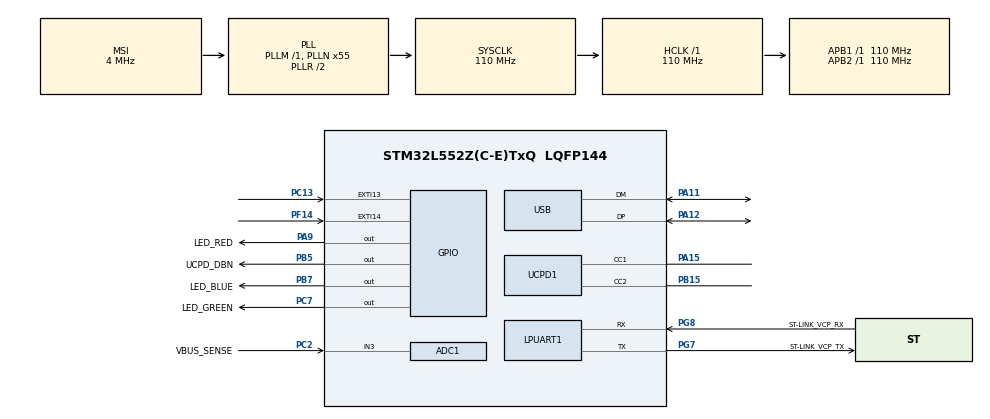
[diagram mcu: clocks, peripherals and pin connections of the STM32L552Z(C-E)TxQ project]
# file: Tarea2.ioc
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ADC1.Channel-0\#ChannelRegularConversion=ADC_CHANNEL_3
ADC1.NbrOfConversionFlag=1
ADC1.OffsetNumber-0\#ChannelRegularConversion=ADC_OFFSET_NONE
ADC1.Rank-0\#ChannelRegularConversion=1
ADC1.SamplingTime-0\#ChannelRegularConversion=ADC_SAMPLETIME_2CYCLES_5
ADC1.master=1
Mcu.Family=STM32L5
Mcu.Name=STM32L552Z(C-E)TxQ
Mcu.Package=LQFP144
Mcu.TrustZone=disable
NVIC.EXTI13_IRQn=true\:0\:0\:false\:false\:true\:true\:true\:true
NVIC.EXTI14_IRQn=true\:0\:0\:false\:false\:true\:true\:true\:true
NVIC.PriorityGroup=NVIC_PRIORITYGROUP_3
PA11.Mode=Device
PA11.Signal=USB_DM
PA12.Mode=Device
PA12.Signal=USB_DP
PA13\ (JTMS/SWDIO).Mode=Trace_Asynchronous_SW
PA13\ (JTMS/SWDIO).Signal=DEBUG_JTMS-SWDIO
PA14\ (JTCK/SWCLK).Mode=Trace_Asynchronous_SW
PA14\ (JTCK/SWCLK).Signal=DEBUG_JTCK-SWCLK
PA15\ (JTDI).Mode=Source_AllSignals
PA15\ (JTDI).Signal=UCPD1_CC1
PA9.GPIO_Label=LED_RED
PA9.Signal=GPIO_Output
PB15.Mode=Source_AllSignals
PB15.Signal=UCPD1_CC2
PB3\ (JTDO/TRACESWO).Mode=Trace_Asynchronous_SW
PB3\ (JTDO/TRACESWO).Signal=DEBUG_JTDO-SWO
PB5.GPIO_Label=UCPD_DBN
PB5.Signal=GPIO_Output
PB7.GPIO_Label=LED_BLUE
PB7.Signal=GPIO_Output
PC13.Signal=GPXTI13
PC14-OSC32_IN\ (PC14).Mode=LSE-External-Oscillator
PC14-OSC32_IN\ (PC14).Signal=RCC_OSC32_IN
PC15-OSC32_OUT\ (PC15).Mode=LSE-External-Oscillator
PC15-OSC32_OUT\ (PC15).Signal=RCC_OSC32_OUT
PC2.GPIO_Label=VBUS_SENSE
PC2.Signal=ADCx_IN3
PC7.GPIO_Label=LED_GREEN
PC7.Signal=GPIO_Output
PF14.Signal=GPXTI14
PG7.GPIO_Label=ST-LINK_VCP_TX
PG7.Mode=Asynchronous
PG7.Signal=LPUART1_TX
PG8.GPIO_Label=ST-LINK_VCP_RX
PG8.Mode=Asynchronous
PG8.Signal=LPUART1_RX
ProjectManager.HeapSize=0x200
ProjectManager.StackSize=0x400
ProjectManager.TargetToolchain=STM32CubeIDE
RCC.ADCCLockSelection=RCC_ADCCLKSOURCE_SYSCLK
RCC.ADCFreq_Value=110000000
RCC.AHBFreq_Value=110000000
RCC.APB1Freq_Value=110000000
RCC.APB1TimFreq_Value=110000000
RCC.APB2Freq_Value=110000000
RCC.APB2TimFreq_Value=110000000
RCC.CK48CLockSelection=RCC_USBCLKSOURCE_HSI48
RCC.CortexFreq_Value=110000000
RCC.HCLKFreq_Value=110000000
RCC.HSE_VALUE=8000000
RCC.HSI48_VALUE=48000000
RCC.HSI_VALUE=16000000
RCC.MSI_VALUE=4000000
RCC.PLLN=55
RCC.PLLSAI1N=24
RCC.RTCClockSelection=RCC_RTCCLKSOURCE_LSE
RCC.SYSCLKFreq_VALUE=110000000
RCC.SYSCLKSource=RCC_SYSCLKSOURCE_PLLCLK
RCC.USBFreq_Value=48000000
RCC.VCOOutputFreq_Value=220000000
SH.ADCx_IN3.0=ADC1_IN3,IN3-Single-Ended
VP_ICACHE_VS_ICACHE.Mode=DirectMappedCache
VP_PWR_VS_DBSignals.Mode=DisableDeadBatterySignals
VP_RTC_VS_RTC_Activate.Mode=RTC_Enabled
board=NUCLEO-L552ZE-Q

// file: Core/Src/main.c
/* USER CODE BEGIN Header */
/**
  ******************************************************************************
  * @file           : main.c
  * @brief          : Main program body
  ******************************************************************************
  * @attention
  *
  * Copyright (c) 2024 STMicroelectronics.
  * All rights reserved.
  *
  * This software is licensed under terms that can be found in the LICENSE file
  * in the root directory of this software component.
  * If no LICENSE file comes with this software, it is provided AS-IS.
  *
  ******************************************************************************
  */
/* USER CODE END Header */
#include "main.h"

/* USER CODE BEGIN Includes */
#include "stdio.h"
/* USER CODE END Includes */

/* USER CODE BEGIN PM */
#define ITM_Port32(n)	(*((volatile unsigned long *)(0xE0000000+4*n)))
/* USER CODE END PM */

ADC_HandleTypeDef hadc1;

UART_HandleTypeDef hlpuart1;

RTC_HandleTypeDef hrtc;

PCD_HandleTypeDef hpcd_USB_FS;

void SystemClock_Config(void);
static void MX_GPIO_Init(void);
static void MX_ADC1_Init(void);
static void MX_ICACHE_Init(void);
static void MX_LPUART1_UART_Init(void);
static void MX_RTC_Init(void);
static void MX_UCPD1_Init(void);
static void MX_USB_PCD_Init(void);

/* USER CODE BEGIN 0 */
int btn1 = 0; //Esto es el estado de los botones al ser pulsados, alterna de 1 a 0
int btn2 = 0;

int btn1Anterior = 0; //Estado anterior de los botones, si es diferente al actual es porque ha habido una pulsación
int btn2Anterior = 0;

int state1(void); //Funcion del primer estado
int state2(void); //Funcion del segundo estado
int state3(void); //Funcion del tercero estado
int state4(void); //Funcion del cuarto estado

int lookup_transitions(int cur_state, int rc); //Función que comprueba por el estado actual y el ret code para saber a que estado nos movemos

int (* state[])(void) = {state1, state2, state3, state4}; //Array de punteros a las funciones
enum state_codes {one, two, three, four}; //Un enumerado que hacer referencia a cada uno de los estados

enum ret_codes {button1, button2, repeat}; //Código que describira la transicion de un estado a otro
struct transition { //Un struct con la respectiva transicion, desde el origen, el motivo del cambio de estado y el estado destino
	enum state_codes src_state;
	enum ret_codes ret_code;
	enum state_codes dst_state;
};

struct transition state_transitions[] = { //Un array de las posibles transiciones
		{one, button1, four},
		{one, button2, two},
		{one, repeat, one},
		{two, button1, one},
		{two, button2, three},
		{two, repeat, two},
		{three, button1, two},
		{three, button2, four},
		{three, repeat, three},
		{four, button1, three},
		{four, button2, one},
		{four, repeat, four}
};

#define ENTRY_STATE one //Estado en el que empiezo
#define NUMBER_OF_TRANSITIONS 12 //Cantidad de transiciones posibles

/* USER CODE END 0 */

int main(void)
{

  /* MCU Configuration--------------------------------------------------------*/

  /* Reset of all peripherals, Initializes the Flash interface and the Systick. */
  HAL_Init();

  /* Configure the system clock */
  SystemClock_Config();

  /* Initialize all configured peripherals */
  MX_GPIO_Init();
  MX_ADC1_Init();
  MX_ICACHE_Init();
  MX_LPUART1_UART_Init();
  MX_RTC_Init();
  MX_UCPD1_Init();
  MX_USB_PCD_Init();
  /* USER CODE BEGIN 2 */

  enum state_codes cur_state = ENTRY_STATE; //Estado en el que empiezo
  enum state_codes last_state = ENTRY_STATE; //Ultimo estado en el que he estado, se usa para saber cuando cambio de estado
  enum ret_codes rc; //Transición de un estado a otro
  int (* state_fun)(void); //Puntero de la funcion del estado actual

  printf("You are in state");
  printf("%i\r\n", cur_state);
  /* USER CODE END 2 */

  /* Infinite loop */
  while (1)
  {
	  if(last_state != cur_state) //si estoy en un estado diferente manda por consola el estado actual
	  {
		  printf("You are in state");
		  printf("%i\r\n", cur_state);

		  last_state = cur_state;
	  }
	  state_fun = state[cur_state]; //state_fun busca en el array de punteros a funciones que funcion tiene que ejecutar segun el estado actual
	  rc = state_fun(); //Ejecución de la función del estado actual
	  cur_state = lookup_transitions(cur_state, rc); //cambia el estado actual segun la transición que estemos haciendo
  }
}

void SystemClock_Config(void)
{
  RCC_OscInitTypeDef RCC_OscInitStruct = {0};
  RCC_ClkInitTypeDef RCC_ClkInitStruct = {0};

  /** Configure the main internal regulator output voltage
  */
  if (HAL_PWREx_ControlVoltageScaling(PWR_REGULATOR_VOLTAGE_SCALE0) != HAL_OK)
  {
    Error_Handler();
  }

  /** Configure LSE Drive Capability
  */
  HAL_PWR_EnableBkUpAccess();
  __HAL_RCC_LSEDRIVE_CONFIG(RCC_LSEDRIVE_LOW);

  /** Initializes the RCC Oscillators according to the specified parameters
  * in the RCC_OscInitTypeDef structure.
  */
  RCC_OscInitStruct.OscillatorType = RCC_OSCILLATORTYPE_HSI48|RCC_OSCILLATORTYPE_HSI
                              |RCC_OSCILLATORTYPE_LSE|RCC_OSCILLATORTYPE_MSI;
  RCC_OscInitStruct.LSEState = RCC_LSE_ON;
  RCC_OscInitStruct.HSIState = RCC_HSI_ON;
  RCC_OscInitStruct.HSI48State = RCC_HSI48_ON;
  RCC_OscInitStruct.HSICalibrationValue = RCC_HSICALIBRATION_DEFAULT;
  RCC_OscInitStruct.MSIState = RCC_MSI_ON;
  RCC_OscInitStruct.MSICalibrationValue = RCC_MSICALIBRATION_DEFAULT;
  RCC_OscInitStruct.MSIClockRange = RCC_MSIRANGE_6;
  RCC_OscInitStruct.PLL.PLLState = RCC_PLL_ON;
  RCC_OscInitStruct.PLL.PLLSource = RCC_PLLSOURCE_MSI;
  RCC_OscInitStruct.PLL.PLLM = 1;
  RCC_OscInitStruct.PLL.PLLN = 55;
  RCC_OscInitStruct.PLL.PLLP = RCC_PLLP_DIV7;
  RCC_OscInitStruct.PLL.PLLQ = RCC_PLLQ_DIV2;
  RCC_OscInitStruct.PLL.PLLR = RCC_PLLR_DIV2;
  if (HAL_RCC_OscConfig(&RCC_OscInitStruct) != HAL_OK)
  {
    Error_Handler();
  }

  /** Initializes the CPU, AHB and APB buses clocks
  */
  RCC_ClkInitStruct.ClockType = RCC_CLOCKTYPE_HCLK|RCC_CLOCKTYPE_SYSCLK
                              |RCC_CLOCKTYPE_PCLK1|RCC_CLOCKTYPE_PCLK2;
  RCC_ClkInitStruct.SYSCLKSource = RCC_SYSCLKSOURCE_PLLCLK;
  RCC_ClkInitStruct.AHBCLKDivider = RCC_SYSCLK_DIV1;
  RCC_ClkInitStruct.APB1CLKDivider = RCC_HCLK_DIV1;
  RCC_ClkInitStruct.APB2CLKDivider = RCC_HCLK_DIV1;

  if (HAL_RCC_ClockConfig(&RCC_ClkInitStruct, FLASH_LATENCY_5) != HAL_OK)
  {
    Error_Handler();
  }
}

static void MX_ADC1_Init(void)
{

  ADC_MultiModeTypeDef multimode = {0};
  ADC_ChannelConfTypeDef sConfig = {0};

  /** Common config
  */
  hadc1.Instance = ADC1;
  hadc1.Init.ClockPrescaler = ADC_CLOCK_ASYNC_DIV1;
  hadc1.Init.Resolution = ADC_RESOLUTION_12B;
  hadc1.Init.DataAlign = ADC_DATAALIGN_RIGHT;
  hadc1.Init.ScanConvMode = ADC_SCAN_DISABLE;
  hadc1.Init.EOCSelection = ADC_EOC_SINGLE_CONV;
  hadc1.Init.LowPowerAutoWait = DISABLE;
  hadc1.Init.ContinuousConvMode = DISABLE;
  hadc1.Init.NbrOfConversion = 1;
  hadc1.Init.DiscontinuousConvMode = DISABLE;
  hadc1.Init.ExternalTrigConv = ADC_SOFTWARE_START;
  hadc1.Init.ExternalTrigConvEdge = ADC_EXTERNALTRIGCONVEDGE_NONE;
  hadc1.Init.DMAContinuousRequests = DISABLE;
  hadc1.Init.Overrun = ADC_OVR_DATA_PRESERVED;
  hadc1.Init.OversamplingMode = DISABLE;
  if (HAL_ADC_Init(&hadc1) != HAL_OK)
  {
    Error_Handler();
  }

  /** Configure the ADC multi-mode
  */
  multimode.Mode = ADC_MODE_INDEPENDENT;
  if (HAL_ADCEx_MultiModeConfigChannel(&hadc1, &multimode) != HAL_OK)
  {
    Error_Handler();
  }

  /** Configure Regular Channel
  */
  sConfig.Channel = ADC_CHANNEL_3;
  sConfig.Rank = ADC_REGULAR_RANK_1;
  sConfig.SamplingTime = ADC_SAMPLETIME_2CYCLES_5;
  sConfig.SingleDiff = ADC_SINGLE_ENDED;
  sConfig.OffsetNumber = ADC_OFFSET_NONE;
  sConfig.Offset = 0;
  if (HAL_ADC_ConfigChannel(&hadc1, &sConfig) != HAL_OK)
  {
    Error_Handler();
  }

}

static void MX_ICACHE_Init(void)
{

  /** Enable instruction cache in 1-way (direct mapped cache)
  */
  if (HAL_ICACHE_ConfigAssociativityMode(ICACHE_1WAY) != HAL_OK)
  {
    Error_Handler();
  }
  if (HAL_ICACHE_Enable() != HAL_OK)
  {
    Error_Handler();
  }

}

static void MX_LPUART1_UART_Init(void)
{

  hlpuart1.Instance = LPUART1;
  hlpuart1.Init.BaudRate = 209700;
  hlpuart1.Init.WordLength = UART_WORDLENGTH_8B;
  hlpuart1.Init.StopBits = UART_STOPBITS_1;
  hlpuart1.Init.Parity = UART_PARITY_NONE;
  hlpuart1.Init.Mode = UART_MODE_TX_RX;
  hlpuart1.Init.HwFlowCtl = UART_HWCONTROL_NONE;
  hlpuart1.Init.OneBitSampling = UART_ONE_BIT_SAMPLE_DISABLE;
  hlpuart1.Init.ClockPrescaler = UART_PRESCALER_DIV1;
  hlpuart1.AdvancedInit.AdvFeatureInit = UART_ADVFEATURE_NO_INIT;
  hlpuart1.FifoMode = UART_FIFOMODE_DISABLE;
  if (HAL_UART_Init(&hlpuart1) != HAL_OK)
  {
    Error_Handler();
  }
  if (HAL_UARTEx_SetTxFifoThreshold(&hlpuart1, UART_TXFIFO_THRESHOLD_1_8) != HAL_OK)
  {
    Error_Handler();
  }
  if (HAL_UARTEx_SetRxFifoThreshold(&hlpuart1, UART_RXFIFO_THRESHOLD_1_8) != HAL_OK)
  {
    Error_Handler();
  }
  if (HAL_UARTEx_DisableFifoMode(&hlpuart1) != HAL_OK)
  {
    Error_Handler();
  }

}

static void MX_RTC_Init(void)
{

  RTC_PrivilegeStateTypeDef privilegeState = {0};

  /** Initialize RTC Only
  */
  hrtc.Instance = RTC;
  hrtc.Init.HourFormat = RTC_HOURFORMAT_24;
  hrtc.Init.AsynchPrediv = 127;
  hrtc.Init.SynchPrediv = 255;
  hrtc.Init.OutPut = RTC_OUTPUT_DISABLE;
  hrtc.Init.OutPutRemap = RTC_OUTPUT_REMAP_NONE;
  hrtc.Init.OutPutPolarity = RTC_OUTPUT_POLARITY_HIGH;
  hrtc.Init.OutPutType = RTC_OUTPUT_TYPE_OPENDRAIN;
  hrtc.Init.OutPutPullUp = RTC_OUTPUT_PULLUP_NONE;
  if (HAL_RTC_Init(&hrtc) != HAL_OK)
  {
    Error_Handler();
  }
  privilegeState.rtcPrivilegeFull = RTC_PRIVILEGE_FULL_NO;
  privilegeState.backupRegisterPrivZone = RTC_PRIVILEGE_BKUP_ZONE_NONE;
  privilegeState.backupRegisterStartZone2 = RTC_BKP_DR0;
  privilegeState.backupRegisterStartZone3 = RTC_BKP_DR0;
  if (HAL_RTCEx_PrivilegeModeSet(&hrtc, &privilegeState) != HAL_OK)
  {
    Error_Handler();
  }

}

static void MX_UCPD1_Init(void)
{

  LL_GPIO_InitTypeDef GPIO_InitStruct = {0};

  /* Peripheral clock enable */
  LL_APB1_GRP2_EnableClock(LL_APB1_GRP2_PERIPH_UCPD1);

  LL_AHB2_GRP1_EnableClock(LL_AHB2_GRP1_PERIPH_GPIOB);
  LL_AHB2_GRP1_EnableClock(LL_AHB2_GRP1_PERIPH_GPIOA);
  /**UCPD1 GPIO Configuration
  PB15   ------> UCPD1_CC2
  PA15 (JTDI)   ------> UCPD1_CC1
  */
  GPIO_InitStruct.Pin = LL_GPIO_PIN_15;
  GPIO_InitStruct.Mode = LL_GPIO_MODE_ANALOG;
  GPIO_InitStruct.Pull = LL_GPIO_PULL_NO;
  LL_GPIO_Init(GPIOB, &GPIO_InitStruct);

  GPIO_InitStruct.Pin = LL_GPIO_PIN_15;
  GPIO_InitStruct.Mode = LL_GPIO_MODE_ANALOG;
  GPIO_InitStruct.Pull = LL_GPIO_PULL_NO;
  LL_GPIO_Init(GPIOA, &GPIO_InitStruct);

}

static void MX_USB_PCD_Init(void)
{

  hpcd_USB_FS.Instance = USB;
  hpcd_USB_FS.Init.dev_endpoints = 8;
  hpcd_USB_FS.Init.speed = PCD_SPEED_FULL;
  hpcd_USB_FS.Init.phy_itface = PCD_PHY_EMBEDDED;
  hpcd_USB_FS.Init.Sof_enable = DISABLE;
  hpcd_USB_FS.Init.low_power_enable = DISABLE;
  hpcd_USB_FS.Init.lpm_enable = DISABLE;
  hpcd_USB_FS.Init.battery_charging_enable = DISABLE;
  if (HAL_PCD_Init(&hpcd_USB_FS) != HAL_OK)
  {
    Error_Handler();
  }

}

static void MX_GPIO_Init(void)
{
  GPIO_InitTypeDef GPIO_InitStruct = {0};

  /* GPIO Ports Clock Enable */
  __HAL_RCC_GPIOC_CLK_ENABLE();
  __HAL_RCC_GPIOF_CLK_ENABLE();
  __HAL_RCC_GPIOB_CLK_ENABLE();
  __HAL_RCC_GPIOG_CLK_ENABLE();
  HAL_PWREx_EnableVddIO2();
  __HAL_RCC_GPIOA_CLK_ENABLE();

  /*Configure GPIO pin Output Level */
  HAL_GPIO_WritePin(LED_GREEN_GPIO_Port, LED_GREEN_Pin, GPIO_PIN_RESET);

  /*Configure GPIO pin Output Level */
  HAL_GPIO_WritePin(LED_RED_GPIO_Port, LED_RED_Pin, GPIO_PIN_RESET);

  /*Configure GPIO pin Output Level */
  HAL_GPIO_WritePin(GPIOB, UCPD_DBN_Pin|LED_BLUE_Pin, GPIO_PIN_RESET);

  /*Configure GPIO pin : PC13 */
  GPIO_InitStruct.Pin = GPIO_PIN_13;
  GPIO_InitStruct.Mode = GPIO_MODE_IT_RISING;
  GPIO_InitStruct.Pull = GPIO_NOPULL;
  HAL_GPIO_Init(GPIOC, &GPIO_InitStruct);

  /*Configure GPIO pin : PF14 */
  GPIO_InitStruct.Pin = GPIO_PIN_14;
  GPIO_InitStruct.Mode = GPIO_MODE_IT_RISING;
  GPIO_InitStruct.Pull = GPIO_NOPULL;
  HAL_GPIO_Init(GPIOF, &GPIO_InitStruct);

  /*Configure GPIO pin : LED_GREEN_Pin */
  GPIO_InitStruct.Pin = LED_GREEN_Pin;
  GPIO_InitStruct.Mode = GPIO_MODE_OUTPUT_PP;
  GPIO_InitStruct.Pull = GPIO_NOPULL;
  GPIO_InitStruct.Speed = GPIO_SPEED_FREQ_LOW;
  HAL_GPIO_Init(LED_GREEN_GPIO_Port, &GPIO_InitStruct);

  /*Configure GPIO pin : LED_RED_Pin */
  GPIO_InitStruct.Pin = LED_RED_Pin;
  GPIO_InitStruct.Mode = GPIO_MODE_OUTPUT_PP;
  GPIO_InitStruct.Pull = GPIO_NOPULL;
  GPIO_InitStruct.Speed = GPIO_SPEED_FREQ_LOW;
  HAL_GPIO_Init(LED_RED_GPIO_Port, &GPIO_InitStruct);

  /*Configure GPIO pins : UCPD_DBN_Pin LED_BLUE_Pin */
  GPIO_InitStruct.Pin = UCPD_DBN_Pin|LED_BLUE_Pin;
  GPIO_InitStruct.Mode = GPIO_MODE_OUTPUT_PP;
  GPIO_InitStruct.Pull = GPIO_NOPULL;
  GPIO_InitStruct.Speed = GPIO_SPEED_FREQ_LOW;
  HAL_GPIO_Init(GPIOB, &GPIO_InitStruct);

  /* EXTI interrupt init*/
  HAL_NVIC_SetPriority(EXTI13_IRQn, 0, 0);
  HAL_NVIC_EnableIRQ(EXTI13_IRQn);

  HAL_NVIC_SetPriority(EXTI14_IRQn, 0, 0);
  HAL_NVIC_EnableIRQ(EXTI14_IRQn);

}

/* USER CODE BEGIN 4 */
int _write(int file, char *ptr, int len)
{
	int DataIdx;

	for(DataIdx=0; DataIdx<len; DataIdx++){
		ITM_SendChar(*ptr++);
	}
	return len;
}

int state1(void)
{
	//Enciendo L1 y apago L0
	HAL_GPIO_WritePin(GPIOA, GPIO_PIN_9, GPIO_PIN_RESET);
	HAL_GPIO_WritePin(GPIOC, GPIO_PIN_7, GPIO_PIN_SET);

	enum ret_codes rc;
	if(btn1 != btn1Anterior) //Si cambia el valor el boton se ha pulsado
	{
		rc = button1;
		btn1Anterior = btn1;
	}
	else if(btn2 != btn2Anterior) //Si cambia el valor el boton se ha pulsado
	{
		rc = button2;
		btn2Anterior = btn2;
	}
	else //Repito si no ha sido pulsado ningún botón
	{
		rc = repeat;
	}

	return rc; //Devuelvo la transición
}

int state2(void)
{
	//Enciendo L0 y apago L1
	HAL_GPIO_WritePin(GPIOA, GPIO_PIN_9, GPIO_PIN_SET);
	HAL_GPIO_WritePin(GPIOC, GPIO_PIN_7, GPIO_PIN_RESET);

	enum ret_codes rc;
		if(btn1 != btn1Anterior) //Si cambia el valor el boton se ha pulsado
		{
			rc = button1;
			btn1Anterior = btn1;
		}
		else if(btn2 != btn2Anterior) //Si cambia el valor el boton se ha pulsado
		{
			rc = button2;
			btn2Anterior = btn2;
		}
		else //Repito si no ha sido pulsado ningún botón
		{
			rc = repeat;
		}

		return rc; //Devuelvo la transición
}

int state3(void)
{
	//Enciendo L0 y L1
	HAL_GPIO_WritePin(GPIOA, GPIO_PIN_9, GPIO_PIN_SET);
	HAL_GPIO_WritePin(GPIOC, GPIO_PIN_7, GPIO_PIN_SET);

	enum ret_codes rc;
		if(btn1 != btn1Anterior) //Si cambia el valor el boton se ha pulsado
		{
			rc = button1;
			btn1Anterior = btn1;
		}
		else if(btn2 != btn2Anterior) //Si cambia el valor el boton se ha pulsado
		{
			rc = button2;
			btn2Anterior = btn2;
		}
		else //Repito si no ha sido pulsado ningún botón
		{
			rc = repeat;
		}

		return rc; //Devuelvo la transición
}

int state4(void)
{
	//Apago L0 y L1
	HAL_GPIO_WritePin(GPIOA, GPIO_PIN_9, GPIO_PIN_RESET);
	HAL_GPIO_WritePin(GPIOC, GPIO_PIN_7, GPIO_PIN_RESET);

	enum ret_codes rc;
		if(btn1 != btn1Anterior) //Si cambia el valor el boton se ha pulsado
		{
			rc = button1;
			btn1Anterior = btn1;
		}
		else if(btn2 != btn2Anterior) //Si cambia el valor el boton se ha pulsado
		{
			rc = button2;
			btn2Anterior = btn2;
		}
		else //Repito si no ha sido pulsado ningún botón
		{
			rc = repeat;
		}

		return rc; //Devuelvo la transición
}

void HAL_GPIO_EXTI_Rising_Callback(uint16_t GPIO_Pin)
{
	if(GPIO_Pin == GPIO_PIN_13)
	{
		btn1 = btn1==0?1:0; //Si pulso primer boton cambio su estado
	}
	if(GPIO_Pin == GPIO_PIN_14)
	{
		btn2 = btn2==0?1:0; //Si pulso segundo boton cambio su estado
	}
}

int lookup_transitions(int cur_state,int rc)
{
	enum state_codes nrc;

	for(int i = 0; i < NUMBER_OF_TRANSITIONS; i++) //For que comprueba todas las transiciones
	{
		if(state_transitions[i].src_state == cur_state && state_transitions[i].ret_code == rc)
		{
			nrc = state_transitions[i].dst_state; //Si encontramos el estado en el que estabamos y el ret code para saber que tipo de transicion estamos haciendo
		}										  //encontramos el estado siguiente
	}

	return nrc; //devuelvo el siguiente estado

}
/* USER CODE END 4 */

void Error_Handler(void)
{
  __disable_irq();
  while (1)
  {
  }
}
